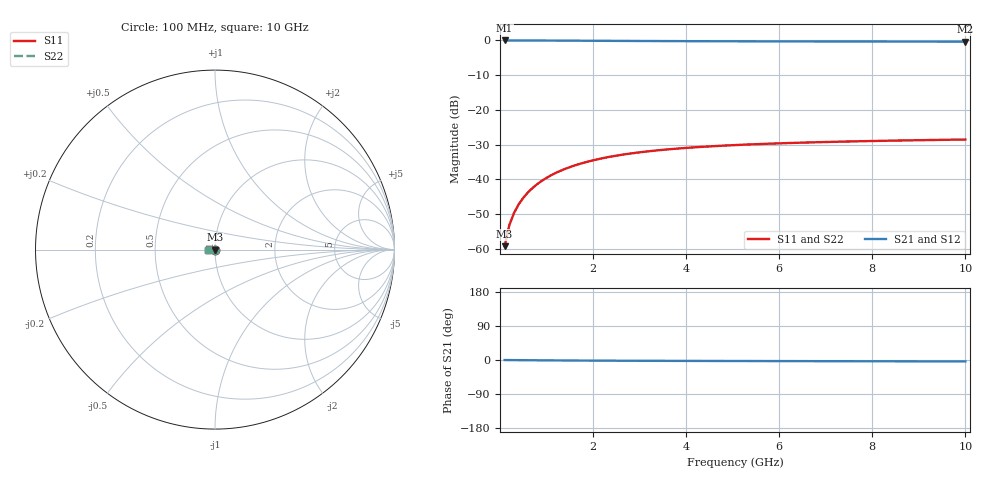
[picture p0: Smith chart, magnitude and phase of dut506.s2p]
! Touchstone file exported from HFSS 2024.1.0
!  File:  C:/UserFiles/LocalFiles/RDL_TSV_Batchsim/temp_TSV1_506_1779702083.aedt
!  Generated:  05:46:58 PM May 25, 2026
!  Design:  TSV1
!  Project:  temp_TSV1_506_1779702083
!  Setup:  Setup1
!  Solution:  Sweep
! Variables:
!  dtsv = 12.99um
!  hbump = 3um
!  htsv = 55.69um
!  lrdl = 252.1521522um
!  p = 40
!  p1 = 53.28um
!  t = 500um
!  trdl = 3um
!  wrdl = 24.89489489um
# GHz S MA R 50.000000
! Terminal data exported
! Port[1] = TSV22_T1
! Port[2] = TSV22_T2
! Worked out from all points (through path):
!   100 points, 100 MHz to 10 GHz, reference 50 ohm
!   highest |S21| = 0.00 dB at 100 MHz (marker M1); lowest = -0.3 dB at 10 GHz (marker M2)
!   lowest |S11| = -59.3 dB at 100 MHz (marker M3), VSWR 1.00, Z = 50 - j0.108 ohm
!   |S11| at or under -10 dB: start of sweep to end of sweep
!   |S22| runs from -59.3 to -28.6 dB; largest |S21 - S12| = 5.1e-15
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0.1  0.001085 -88.1  0.9999 -0.1  0.9999 -0.1  0.001085 -88.1
! Gamma 0 0 0 0
! Port Impedance 50 0 50 0
0.2  0.002167 -91.6  0.9998 -0.2  0.9998 -0.2  0.002167 -91.6
0.3  0.003248 -94.0  0.9996 -0.3  0.9996 -0.3  0.003248 -94.0
0.4  0.004324 -96.1  0.9993 -0.4  0.9993 -0.4  0.004324 -96.1
0.5  0.005389 -98.2  0.999 -0.5  0.999 -0.5  0.005389 -98.2
0.6  0.006442 -100.1  0.9986 -0.6  0.9986 -0.6  0.006442 -100.1
0.7  0.007477 -102.0  0.9982 -0.7  0.9982 -0.7  0.007477 -102.0
0.8  0.008494 -103.9  0.9977 -0.8  0.9977 -0.8  0.008494 -103.9
0.9  0.009489 -105.7  0.9972 -0.9  0.9972 -0.9  0.009489 -105.7
1.1  0.01141 -109.2  0.996 -1.0  0.996 -1.0  0.01141 -109.2
1.4  0.01409 -114.2  0.994 -1.2  0.994 -1.2  0.01409 -114.2
1.6  0.01575 -117.3  0.9925 -1.4  0.9925 -1.4  0.01575 -117.3
1.8  0.01729 -120.3  0.991 -1.5  0.991 -1.5  0.01729 -120.3
2.1  0.0194 -124.5  0.9888 -1.7  0.9888 -1.7  0.0194 -124.5
2.5  0.02185 -129.6  0.9859 -1.9  0.9859 -1.9  0.02185 -129.6
2.9  0.02395 -134.2  0.9831 -2.0  0.9831 -2.0  0.02395 -134.2
3.4  0.02614 -139.3  0.98 -2.2  0.98 -2.2  0.02614 -139.3
4.2  0.02888 -146.2  0.9758 -2.5  0.9758 -2.5  0.02888 -146.2
5.1  0.03117 -152.6  0.972 -2.7  0.972 -2.7  0.03117 -152.6
6.7  0.03397 -161.6  0.9673 -3.1  0.9673 -3.1  0.03397 -161.6
8.4  0.03596 -169.0  0.964 -3.4  0.964 -3.4  0.03596 -169.0
10  0.03734 -174.9  0.9618 -3.8  0.9618 -3.8  0.03734 -174.9
